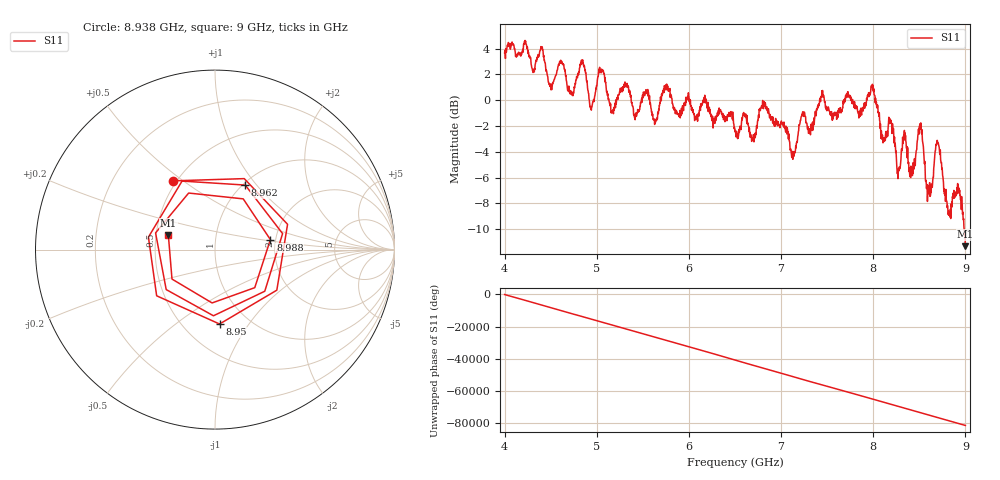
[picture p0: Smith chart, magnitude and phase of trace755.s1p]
! Created with skrf 1.8.0 (http://scikit-rf.org).
# Hz S RI R 50.0
!freq ReS11 ImS11
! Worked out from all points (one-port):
!   1601 points, 4 GHz to 9 GHz, reference 50 ohm
!   lowest |S11| = -11.3 dB at 9 GHz (marker M1), VSWR 1.75, Z = 29.1 + j5.04 ohm
!   |S11| at or under -10 dB: 8.986912 GHz to end of sweep
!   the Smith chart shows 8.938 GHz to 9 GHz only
!   S11 on the Smith chart (normalised r, x): 8.938 GHz: 0.48, +0.46; 8.95 GHz: 0.74, -0.74; 8.962 GHz: 1.03, +0.88; 8.988 GHz: 1.87, +0.23; 9 GHz: 0.58, +0.10
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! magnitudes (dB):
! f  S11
! 4 GHz  3.7
! 4.4 GHz  4.0
! 4.5 GHz  1.3
! 4.625 GHz  2.9
! 4.725 GHz  0.7
! 4.85 GHz  2.8
! 4.944 GHz  -0.5
! 5.044 GHz  2.3
! 5.162 GHz  -1.0
! 5.25 GHz  0.7
! 5.875 GHz  -1.0
! 6.5 GHz  -2.4
! 6.819 GHz  -0.4
! 7.125 GHz  -4.0
! 7.441 GHz  0.5
! 7.75 GHz  0.4
! 7.994 GHz  0.8
! 8.106 GHz  -3.3
! 8.375 GHz  -3.8
! 8.509 GHz  -2.0
! 8.603 GHz  -7.2
! 8.703 GHz  -3.3
! 8.816 GHz  -8.9
! 8.938 GHz  -7.0
! 8.95 GHz  -7.6
! 8.962 GHz  -8.0
! 8.988 GHz  -10.1
! 9 GHz  -11.3
